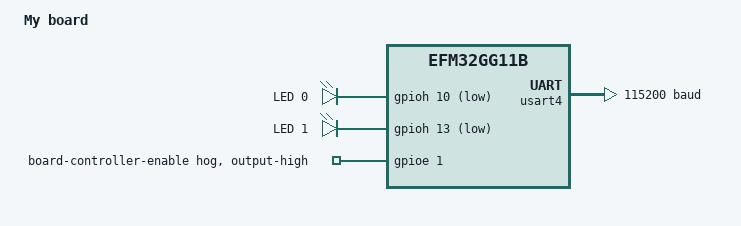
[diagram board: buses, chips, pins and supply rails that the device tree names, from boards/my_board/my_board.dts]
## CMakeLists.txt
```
cmake_minimum_required(VERSION 3.20.0)

list(APPEND BOARD_ROOT ${CMAKE_CURRENT_SOURCE_DIR})
find_package(Zephyr REQUIRED)

list(APPEND ZEPHYR_EXTRA_MODULES ${CMAKE_CURRENT_LIST_DIR}/drivers/our_driver)

project(my_zephyr_app)
target_sources(app PRIVATE src/main.cpp)
```

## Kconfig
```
config APP_HEARTBEAT_PERIOD_MS
    int "App heartbeat period (100-2000)"
    range 100 2000
    default 500

source "Kconfig.zephyr"
rsource "drivers/our_driver/Kconfig"
```

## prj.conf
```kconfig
CONFIG_GPIO=y
CONFIG_LOG=y
CONFIG_PRINTK=y
CONFIG_OUR_DRIVER=y
CONFIG_SHELL=y
CONFIG_SHELL_MINIMAL=y
```

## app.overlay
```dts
/ {
	aliases {
		app-led = &led0;
	};
	our_driver0: our_driver{
		compatible = "our,driver";
		status = "okay";
	};
};
```

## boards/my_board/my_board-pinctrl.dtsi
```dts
#include <dt-bindings/pinctrl/gecko-pinctrl-s1.h>

&pinctrl {
	usart4_default: usart4_default {
		group1 {
			psels = <GECKO_PSEL(UART_TX, H, 4)>,
				<GECKO_PSEL(UART_RX, H, 5)>,
				<GECKO_LOC(UART_TX, 4)>,
				<GECKO_LOC(UART_RX, 4)>;
		};
	};
};
```

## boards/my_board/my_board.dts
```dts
/dts-v1/;

#include <silabs/efm32gg11b820f2048gl192.dtsi>
#include "my_board-pinctrl.dtsi"

/ {
	model = "My board";
	compatible = "my_vendor,my_board", "silabs,efm32gg11b";

	aliases
	{
		led0 = &led0;
		led1 = &led1;
	};

	chosen
	{
		zephyr,console = &usart4;
		zephyr,flash = &flash0;
		zephyr,shell-uart = &usart4;
		zephyr,sram = &sram0;
	};

	leds {
		compatible = "gpio-leds";

		led0: led_0 {
			gpios = <&gpioh 10 GPIO_ACTIVE_LOW>;
			label = "LED 0";
		};

		led1: led_1 {
			gpios = <&gpioh 13 GPIO_ACTIVE_LOW>;
			label = "LED 1";
		};
	};
};

&usart4 {
	current-speed = <115200>;
	pinctrl-0 = <&usart4_default>;
	pinctrl-names = "default";
	status = "okay";
};

&gpioe {
	status = "okay";

	board-controller-enable {
		gpio-hog;
		gpios = <1 GPIO_ACTIVE_HIGH>;
		output-high;
	};
};

&gpioh {
	status = "okay";
};

&flash0 {
	partitions {
		compatible = "fixed-partitions";
		#address-cells = <1>;
		#size-cells = <1>;

		/* Set 12Kb of storage at the end of the 2048Kb of flash */
		storage_partition: partition@1fd000 {
			reg = <0x001fd000 0x00003000>;
			label = "storage";
		};
	};
};

&cpu0 {
	clock-frequency = <72000000>;
};
```

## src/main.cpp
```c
#include <zephyr/drivers/gpio.h>
#include <zephyr/kernel.h>
#include <zephyr/logging/log.h>
#include <zephyr/drivers/our_driver.h>

LOG_MODULE_REGISTER(main, LOG_LEVEL_INF);

const struct device* driver = DEVICE_DT_GET(DT_NODELABEL(our_driver0));

int main(void)
{
    int i = 0;

    while (1) 
    {
        //LED ON
        our_driver_led_on(driver);
        
        k_msleep(CONFIG_APP_HEARTBEAT_PERIOD_MS);

        //LED OFF
        our_driver_led_off(driver);

        k_msleep(CONFIG_APP_HEARTBEAT_PERIOD_MS);

        our_driver_set_value(driver, i);
        i++;
    }
    return 0;
}
```
